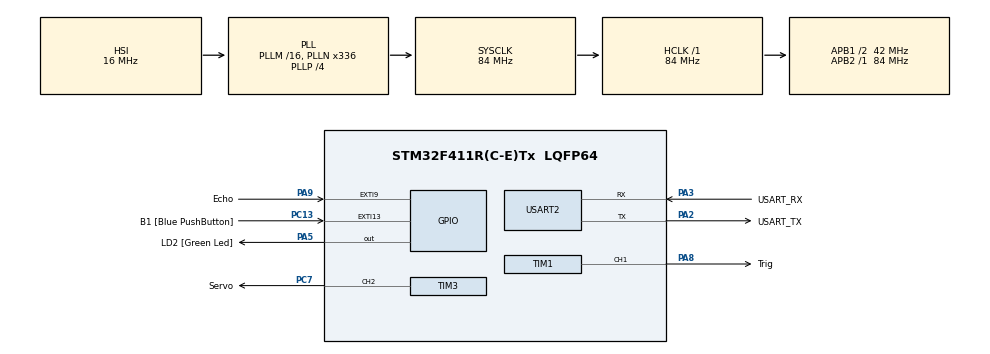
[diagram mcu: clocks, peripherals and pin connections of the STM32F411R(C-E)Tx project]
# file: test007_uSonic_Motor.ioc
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Mcu.Family=STM32F4
Mcu.Name=STM32F411R(C-E)Tx
Mcu.Package=LQFP64
NVIC.EXTI9_5_IRQn=true\:0\:0\:false\:false\:true\:true\:true\:true
NVIC.PriorityGroup=NVIC_PRIORITYGROUP_0
PA13.GPIO_Label=TMS
PA13.Mode=Serial_Wire
PA13.Signal=SYS_JTMS-SWDIO
PA14.GPIO_Label=TCK
PA14.Mode=Serial_Wire
PA14.Signal=SYS_JTCK-SWCLK
PA2.GPIO_Label=USART_TX
PA2.Mode=Asynchronous
PA2.Signal=USART2_TX
PA3.GPIO_Label=USART_RX
PA3.Mode=Asynchronous
PA3.Signal=USART2_RX
PA5.GPIO_Label=LD2 [Green Led]
PA5.Signal=GPIO_Output
PA8.GPIO_Label=Trig
PA8.Signal=S_TIM1_CH1
PA9.GPIO_Label=Echo
PA9.GPIO_ModeDefaultEXTI=GPIO_MODE_IT_RISING_FALLING
PA9.Signal=GPXTI9
PB3.GPIO_Label=SWO
PB3.Signal=SYS_JTDO-SWO
PC13-ANTI_TAMP.GPIO_Label=B1 [Blue PushButton]
PC13-ANTI_TAMP.GPIO_ModeDefaultEXTI=GPIO_MODE_IT_FALLING
PC13-ANTI_TAMP.Signal=GPXTI13
PC14-OSC32_IN.Mode=LSE-External-Oscillator
PC14-OSC32_IN.Signal=RCC_OSC32_IN
PC15-OSC32_OUT.Mode=LSE-External-Oscillator
PC15-OSC32_OUT.Signal=RCC_OSC32_OUT
PC7.GPIO_Label=Servo
PC7.Signal=S_TIM3_CH2
PH0\ -\ OSC_IN.Mode=HSE-External-Clock-Source
PH0\ -\ OSC_IN.Signal=RCC_OSC_IN
PH1\ -\ OSC_OUT.Mode=HSE-External-Clock-Source
PH1\ -\ OSC_OUT.Signal=RCC_OSC_OUT
ProjectManager.HeapSize=0x200
ProjectManager.StackSize=0x400
ProjectManager.TargetToolchain=STM32CubeIDE
RCC.48MHZClocksFreq_Value=84000000
RCC.AHBFreq_Value=84000000
RCC.APB1CLKDivider=RCC_HCLK_DIV2
RCC.APB1Freq_Value=42000000
RCC.APB1TimFreq_Value=84000000
RCC.APB2Freq_Value=84000000
RCC.APB2TimFreq_Value=84000000
RCC.CortexFreq_Value=84000000
RCC.FLatency-AdvancedSettings=FLASH_LATENCY_2
RCC.HCLKFreq_Value=84000000
RCC.HSE_VALUE=8000000
RCC.HSI_VALUE=16000000
RCC.PLLN=336
RCC.PLLP=RCC_PLLP_DIV4
RCC.SYSCLKFreq_VALUE=84000000
RCC.SYSCLKSource=RCC_SYSCLKSOURCE_PLLCLK
RCC.VCOOutputFreq_Value=336000000
SH.S_TIM1_CH1.0=TIM1_CH1,PWM Generation1 CH1
SH.S_TIM3_CH2.0=TIM3_CH2,PWM Generation2 CH2
TIM1.Channel-PWM\ Generation1\ CH1=TIM_CHANNEL_1
TIM1.Period=60000-1
TIM1.Prescaler=88-1
TIM1.Pulse-PWM\ Generation1\ CH1=10
TIM2.Prescaler=84-1
TIM3.Channel-PWM\ Generation2\ CH2=TIM_CHANNEL_2
TIM3.Period=40000-1
TIM3.Prescaler=42-1
USART2.VirtualMode=VM_ASYNC
VP_TIM1_VS_ClockSourceINT.Mode=Internal
VP_TIM2_VS_ClockSourceINT.Mode=Internal
VP_TIM3_VS_ClockSourceINT.Mode=Internal
board=NUCLEO-F411RE

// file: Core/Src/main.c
/* USER CODE BEGIN Header */
/**
  ******************************************************************************
  * @file           : main.c
  * @brief          : Main program body
  ******************************************************************************
  * @attention
  *
  * Copyright (c) 2025 STMicroelectronics.
  * All rights reserved.
  *
  * This software is licensed under terms that can be found in the LICENSE file
  * in the root directory of this software component.
  * If no LICENSE file comes with this software, it is provided AS-IS.
  *
  ******************************************************************************
  */
/* USER CODE END Header */
#include "main.h"

/* USER CODE BEGIN Includes */
#include "uSonic.h"
/* USER CODE END Includes */

TIM_HandleTypeDef htim1;
TIM_HandleTypeDef htim2;
TIM_HandleTypeDef htim3;

UART_HandleTypeDef huart2;

void SystemClock_Config(void);
static void MX_GPIO_Init(void);
static void MX_USART2_UART_Init(void);
static void MX_TIM1_Init(void);
static void MX_TIM2_Init(void);
static void MX_TIM3_Init(void);

/* USER CODE BEGIN 0 */
double dist;
int t1 = 0, t2 = 0;
void HAL_GPIO_EXTI_Callback(uint16_t GPIO_PIN)
{
	if(GPIO_PIN == Echo_Pin)
	{
		if(HAL_GPIO_ReadPin(Echo_GPIO_Port, Echo_Pin) == 1)
		{
			//htim2.Instance->CNT = 0;
			t1 = htim2.Instance->CNT;
		}
		else
		{
			t2 = htim2.Instance->CNT;
			dist = (t2 - t1) * 0.17;
			if(dist < 100)		htim3.Instance->CCR2 = 4000;
			else				htim3.Instance->CCR2 = 2000;
		}
	}

}
/* USER CODE END 0 */

int main(void)
{

  /* MCU Configuration--------------------------------------------------------*/

  /* Reset of all peripherals, Initializes the Flash interface and the Systick. */
  HAL_Init();

  /* Configure the system clock */
  SystemClock_Config();

  /* Initialize all configured peripherals */
  MX_GPIO_Init();
  MX_USART2_UART_Init();
  MX_TIM1_Init();
  MX_TIM2_Init();
  MX_TIM3_Init();
  /* USER CODE BEGIN 2 */
  ProgramStart("Servo & uSonic");
  HAL_TIM_Base_Start(&htim2);
  HAL_TIM_PWM_Start(&htim1, TIM_CHANNEL_1);
  HAL_TIM_PWM_Start(&htim3, TIM_CHANNEL_2);
  htim3.Instance->CCR2 = 2000;
  /* USER CODE END 2 */

  /* Infinite loop */
  /* USER CODE BEGIN WHILE */
  while (1)
  {
	  Cursor(0,5);
	  printf("Distance : %.2f\r\n", dist);
	  if(dist < 100)
		  printf("Door Open");
	  else
		  printf("Door Closed");
	  HAL_Delay(500);
    /* USER CODE END WHILE */

  }
}

void SystemClock_Config(void)
{
  RCC_OscInitTypeDef RCC_OscInitStruct = {0};
  RCC_ClkInitTypeDef RCC_ClkInitStruct = {0};

  /** Configure the main internal regulator output voltage
  */
  __HAL_RCC_PWR_CLK_ENABLE();
  __HAL_PWR_VOLTAGESCALING_CONFIG(PWR_REGULATOR_VOLTAGE_SCALE1);

  /** Initializes the RCC Oscillators according to the specified parameters
  * in the RCC_OscInitTypeDef structure.
  */
  RCC_OscInitStruct.OscillatorType = RCC_OSCILLATORTYPE_HSI;
  RCC_OscInitStruct.HSIState = RCC_HSI_ON;
  RCC_OscInitStruct.HSICalibrationValue = RCC_HSICALIBRATION_DEFAULT;
  RCC_OscInitStruct.PLL.PLLState = RCC_PLL_ON;
  RCC_OscInitStruct.PLL.PLLSource = RCC_PLLSOURCE_HSI;
  RCC_OscInitStruct.PLL.PLLM = 16;
  RCC_OscInitStruct.PLL.PLLN = 336;
  RCC_OscInitStruct.PLL.PLLP = RCC_PLLP_DIV4;
  RCC_OscInitStruct.PLL.PLLQ = 4;
  if (HAL_RCC_OscConfig(&RCC_OscInitStruct) != HAL_OK)
  {
    Error_Handler();
  }

  /** Initializes the CPU, AHB and APB buses clocks
  */
  RCC_ClkInitStruct.ClockType = RCC_CLOCKTYPE_HCLK|RCC_CLOCKTYPE_SYSCLK
                              |RCC_CLOCKTYPE_PCLK1|RCC_CLOCKTYPE_PCLK2;
  RCC_ClkInitStruct.SYSCLKSource = RCC_SYSCLKSOURCE_PLLCLK;
  RCC_ClkInitStruct.AHBCLKDivider = RCC_SYSCLK_DIV1;
  RCC_ClkInitStruct.APB1CLKDivider = RCC_HCLK_DIV2;
  RCC_ClkInitStruct.APB2CLKDivider = RCC_HCLK_DIV1;

  if (HAL_RCC_ClockConfig(&RCC_ClkInitStruct, FLASH_LATENCY_2) != HAL_OK)
  {
    Error_Handler();
  }
}

static void MX_TIM1_Init(void)
{

  TIM_ClockConfigTypeDef sClockSourceConfig = {0};
  TIM_MasterConfigTypeDef sMasterConfig = {0};
  TIM_OC_InitTypeDef sConfigOC = {0};
  TIM_BreakDeadTimeConfigTypeDef sBreakDeadTimeConfig = {0};

  htim1.Instance = TIM1;
  htim1.Init.Prescaler = 88-1;
  htim1.Init.CounterMode = TIM_COUNTERMODE_UP;
  htim1.Init.Period = 60000-1;
  htim1.Init.ClockDivision = TIM_CLOCKDIVISION_DIV1;
  htim1.Init.RepetitionCounter = 0;
  htim1.Init.AutoReloadPreload = TIM_AUTORELOAD_PRELOAD_DISABLE;
  if (HAL_TIM_Base_Init(&htim1) != HAL_OK)
  {
    Error_Handler();
  }
  sClockSourceConfig.ClockSource = TIM_CLOCKSOURCE_INTERNAL;
  if (HAL_TIM_ConfigClockSource(&htim1, &sClockSourceConfig) != HAL_OK)
  {
    Error_Handler();
  }
  if (HAL_TIM_PWM_Init(&htim1) != HAL_OK)
  {
    Error_Handler();
  }
  sMasterConfig.MasterOutputTrigger = TIM_TRGO_RESET;
  sMasterConfig.MasterSlaveMode = TIM_MASTERSLAVEMODE_DISABLE;
  if (HAL_TIMEx_MasterConfigSynchronization(&htim1, &sMasterConfig) != HAL_OK)
  {
    Error_Handler();
  }
  sConfigOC.OCMode = TIM_OCMODE_PWM1;
  sConfigOC.Pulse = 10;
  sConfigOC.OCPolarity = TIM_OCPOLARITY_HIGH;
  sConfigOC.OCNPolarity = TIM_OCNPOLARITY_HIGH;
  sConfigOC.OCFastMode = TIM_OCFAST_DISABLE;
  sConfigOC.OCIdleState = TIM_OCIDLESTATE_RESET;
  sConfigOC.OCNIdleState = TIM_OCNIDLESTATE_RESET;
  if (HAL_TIM_PWM_ConfigChannel(&htim1, &sConfigOC, TIM_CHANNEL_1) != HAL_OK)
  {
    Error_Handler();
  }
  sBreakDeadTimeConfig.OffStateRunMode = TIM_OSSR_DISABLE;
  sBreakDeadTimeConfig.OffStateIDLEMode = TIM_OSSI_DISABLE;
  sBreakDeadTimeConfig.LockLevel = TIM_LOCKLEVEL_OFF;
  sBreakDeadTimeConfig.DeadTime = 0;
  sBreakDeadTimeConfig.BreakState = TIM_BREAK_DISABLE;
  sBreakDeadTimeConfig.BreakPolarity = TIM_BREAKPOLARITY_HIGH;
  sBreakDeadTimeConfig.AutomaticOutput = TIM_AUTOMATICOUTPUT_DISABLE;
  if (HAL_TIMEx_ConfigBreakDeadTime(&htim1, &sBreakDeadTimeConfig) != HAL_OK)
  {
    Error_Handler();
  }
  HAL_TIM_MspPostInit(&htim1);

}

static void MX_TIM2_Init(void)
{

  TIM_ClockConfigTypeDef sClockSourceConfig = {0};
  TIM_MasterConfigTypeDef sMasterConfig = {0};

  htim2.Instance = TIM2;
  htim2.Init.Prescaler = 84-1;
  htim2.Init.CounterMode = TIM_COUNTERMODE_UP;
  htim2.Init.Period = 4294967295;
  htim2.Init.ClockDivision = TIM_CLOCKDIVISION_DIV1;
  htim2.Init.AutoReloadPreload = TIM_AUTORELOAD_PRELOAD_DISABLE;
  if (HAL_TIM_Base_Init(&htim2) != HAL_OK)
  {
    Error_Handler();
  }
  sClockSourceConfig.ClockSource = TIM_CLOCKSOURCE_INTERNAL;
  if (HAL_TIM_ConfigClockSource(&htim2, &sClockSourceConfig) != HAL_OK)
  {
    Error_Handler();
  }
  sMasterConfig.MasterOutputTrigger = TIM_TRGO_RESET;
  sMasterConfig.MasterSlaveMode = TIM_MASTERSLAVEMODE_DISABLE;
  if (HAL_TIMEx_MasterConfigSynchronization(&htim2, &sMasterConfig) != HAL_OK)
  {
    Error_Handler();
  }

}

static void MX_TIM3_Init(void)
{

  TIM_ClockConfigTypeDef sClockSourceConfig = {0};
  TIM_MasterConfigTypeDef sMasterConfig = {0};
  TIM_OC_InitTypeDef sConfigOC = {0};

  htim3.Instance = TIM3;
  htim3.Init.Prescaler = 42-1;
  htim3.Init.CounterMode = TIM_COUNTERMODE_UP;
  htim3.Init.Period = 40000-1;
  htim3.Init.ClockDivision = TIM_CLOCKDIVISION_DIV1;
  htim3.Init.AutoReloadPreload = TIM_AUTORELOAD_PRELOAD_DISABLE;
  if (HAL_TIM_Base_Init(&htim3) != HAL_OK)
  {
    Error_Handler();
  }
  sClockSourceConfig.ClockSource = TIM_CLOCKSOURCE_INTERNAL;
  if (HAL_TIM_ConfigClockSource(&htim3, &sClockSourceConfig) != HAL_OK)
  {
    Error_Handler();
  }
  if (HAL_TIM_PWM_Init(&htim3) != HAL_OK)
  {
    Error_Handler();
  }
  sMasterConfig.MasterOutputTrigger = TIM_TRGO_RESET;
  sMasterConfig.MasterSlaveMode = TIM_MASTERSLAVEMODE_DISABLE;
  if (HAL_TIMEx_MasterConfigSynchronization(&htim3, &sMasterConfig) != HAL_OK)
  {
    Error_Handler();
  }
  sConfigOC.OCMode = TIM_OCMODE_PWM1;
  sConfigOC.Pulse = 0;
  sConfigOC.OCPolarity = TIM_OCPOLARITY_HIGH;
  sConfigOC.OCFastMode = TIM_OCFAST_DISABLE;
  if (HAL_TIM_PWM_ConfigChannel(&htim3, &sConfigOC, TIM_CHANNEL_2) != HAL_OK)
  {
    Error_Handler();
  }
  HAL_TIM_MspPostInit(&htim3);

}

static void MX_USART2_UART_Init(void)
{

  huart2.Instance = USART2;
  huart2.Init.BaudRate = 115200;
  huart2.Init.WordLength = UART_WORDLENGTH_8B;
  huart2.Init.StopBits = UART_STOPBITS_1;
  huart2.Init.Parity = UART_PARITY_NONE;
  huart2.Init.Mode = UART_MODE_TX_RX;
  huart2.Init.HwFlowCtl = UART_HWCONTROL_NONE;
  huart2.Init.OverSampling = UART_OVERSAMPLING_16;
  if (HAL_UART_Init(&huart2) != HAL_OK)
  {
    Error_Handler();
  }

}

static void MX_GPIO_Init(void)
{
  GPIO_InitTypeDef GPIO_InitStruct = {0};

  /* GPIO Ports Clock Enable */
  __HAL_RCC_GPIOC_CLK_ENABLE();
  __HAL_RCC_GPIOH_CLK_ENABLE();
  __HAL_RCC_GPIOA_CLK_ENABLE();
  __HAL_RCC_GPIOB_CLK_ENABLE();

  /*Configure GPIO pin Output Level */
  HAL_GPIO_WritePin(LD2_GPIO_Port, LD2_Pin, GPIO_PIN_RESET);

  /*Configure GPIO pin : B1_Pin */
  GPIO_InitStruct.Pin = B1_Pin;
  GPIO_InitStruct.Mode = GPIO_MODE_IT_FALLING;
  GPIO_InitStruct.Pull = GPIO_NOPULL;
  HAL_GPIO_Init(B1_GPIO_Port, &GPIO_InitStruct);

  /*Configure GPIO pin : LD2_Pin */
  GPIO_InitStruct.Pin = LD2_Pin;
  GPIO_InitStruct.Mode = GPIO_MODE_OUTPUT_PP;
  GPIO_InitStruct.Pull = GPIO_NOPULL;
  GPIO_InitStruct.Speed = GPIO_SPEED_FREQ_LOW;
  HAL_GPIO_Init(LD2_GPIO_Port, &GPIO_InitStruct);

  /*Configure GPIO pin : Echo_Pin */
  GPIO_InitStruct.Pin = Echo_Pin;
  GPIO_InitStruct.Mode = GPIO_MODE_IT_RISING_FALLING;
  GPIO_InitStruct.Pull = GPIO_NOPULL;
  HAL_GPIO_Init(Echo_GPIO_Port, &GPIO_InitStruct);

  /* EXTI interrupt init*/
  HAL_NVIC_SetPriority(EXTI9_5_IRQn, 0, 0);
  HAL_NVIC_EnableIRQ(EXTI9_5_IRQn);

}

void Error_Handler(void)
{
  __disable_irq();
  while (1)
  {
  }
}
